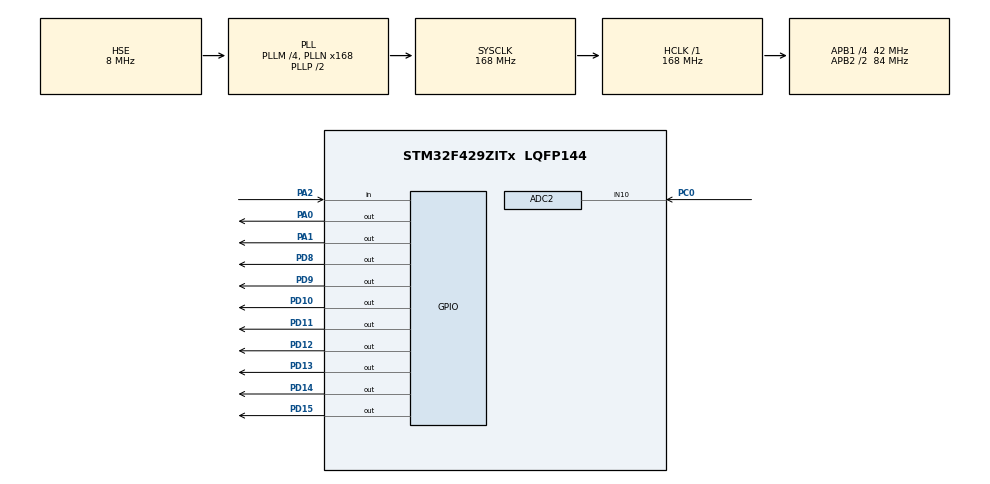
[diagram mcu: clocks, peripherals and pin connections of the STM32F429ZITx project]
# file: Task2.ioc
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ADC2.Channel-0\#ChannelRegularConversion=ADC_CHANNEL_10
ADC2.ContinuousConvMode=ENABLE
ADC2.NbrOfConversionFlag=1
ADC2.Rank-0\#ChannelRegularConversion=1
ADC2.SamplingTime-0\#ChannelRegularConversion=ADC_SAMPLETIME_3CYCLES
Mcu.Family=STM32F4
Mcu.Name=STM32F429ZITx
Mcu.Package=LQFP144
NVIC.ADC_IRQn=true\:0\:0\:false\:false\:true\:true\:true
NVIC.PriorityGroup=NVIC_PRIORITYGROUP_4
NVIC.TIM2_IRQn=true\:0\:0\:false\:false\:true\:true\:true
PA0/WKUP.GPIO_Speed=GPIO_SPEED_FREQ_VERY_HIGH
PA0/WKUP.Signal=GPIO_Output
PA1.GPIO_Speed=GPIO_SPEED_FREQ_VERY_HIGH
PA1.Signal=GPIO_Output
PA2.Signal=GPIO_Input
PC0.Signal=ADCx_IN10
PD10.GPIO_Speed=GPIO_SPEED_FREQ_VERY_HIGH
PD10.Signal=GPIO_Output
PD11.GPIO_Speed=GPIO_SPEED_FREQ_VERY_HIGH
PD11.Signal=GPIO_Output
PD12.GPIO_Speed=GPIO_SPEED_FREQ_VERY_HIGH
PD12.Signal=GPIO_Output
PD13.GPIO_Speed=GPIO_SPEED_FREQ_VERY_HIGH
PD13.Signal=GPIO_Output
PD14.GPIO_Speed=GPIO_SPEED_FREQ_VERY_HIGH
PD14.Signal=GPIO_Output
PD15.GPIO_Speed=GPIO_SPEED_FREQ_VERY_HIGH
PD15.Signal=GPIO_Output
PD8.GPIO_Speed=GPIO_SPEED_FREQ_VERY_HIGH
PD8.Signal=GPIO_Output
PD9.GPIO_Speed=GPIO_SPEED_FREQ_VERY_HIGH
PD9.Signal=GPIO_Output
PH0/OSC_IN.Mode=HSE-External-Oscillator
PH0/OSC_IN.Signal=RCC_OSC_IN
PH1/OSC_OUT.Mode=HSE-External-Oscillator
PH1/OSC_OUT.Signal=RCC_OSC_OUT
ProjectManager.HeapSize=0x200
ProjectManager.StackSize=0x400
ProjectManager.TargetToolchain=EWARM V8.32
RCC.48MHZClocksFreq_Value=84000000
RCC.AHBFreq_Value=168000000
RCC.APB1CLKDivider=RCC_HCLK_DIV4
RCC.APB1Freq_Value=42000000
RCC.APB1TimFreq_Value=84000000
RCC.APB2CLKDivider=RCC_HCLK_DIV2
RCC.APB2Freq_Value=84000000
RCC.APB2TimFreq_Value=168000000
RCC.CortexFreq_Value=168000000
RCC.HCLKFreq_Value=168000000
RCC.HSE_VALUE=8000000
RCC.HSI_VALUE=16000000
RCC.LSE_VALUE=32768
RCC.PLLM=4
RCC.PLLN=168
RCC.PLLSourceVirtual=RCC_PLLSOURCE_HSE
RCC.SYSCLKFreq_VALUE=168000000
RCC.SYSCLKSource=RCC_SYSCLKSOURCE_PLLCLK
RCC.VCOOutputFreq_Value=336000000
SH.ADCx_IN10.0=ADC2_IN10,IN10
TIM2.Period=105
TIM2.Prescaler=20000
VP_TIM2_VS_ClockSourceINT.Mode=Internal
board=custom

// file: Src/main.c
/* USER CODE BEGIN Header */
/**
  ******************************************************************************
  * @file           : main.c
  * @brief          : Main program body
  ******************************************************************************
  * @attention
  *
  * <h2><center>&copy; Copyright (c) 2020 STMicroelectronics.
  * All rights reserved.</center></h2>
  *
  * This software component is licensed by ST under BSD 3-Clause license,
  * the "License"; You may not use this file except in compliance with the
  * License. You may obtain a copy of the License at:
  *                        opensource.org/licenses/BSD-3-Clause
  *
  ******************************************************************************
  */
/* USER CODE END Header */

#include "main.h"

ADC_HandleTypeDef hadc2;

TIM_HandleTypeDef htim2;

/* USER CODE BEGIN PV */
extern char temp_array[5];
/* USER CODE END PV */

void SystemClock_Config(void);
static void MX_GPIO_Init(void);
static void MX_ADC2_Init(void);
static void MX_TIM2_Init(void);

/* USER CODE BEGIN 0 */
void command(char i)
{
 GPIOD-> ODR = i << 8 ; //put data on output Port
 HAL_GPIO_WritePin(GPIOA,GPIO_PIN_0, GPIO_PIN_RESET); // D/I=LOW : send instruction
 HAL_GPIO_WritePin(GPIOA,GPIO_PIN_1, GPIO_PIN_SET); // E-> HIGH
 HAL_Delay(1);
 HAL_GPIO_WritePin(GPIOA,GPIO_PIN_1, GPIO_PIN_RESET); // E-> LOW
}
/**********************************************************/
void write(char i)
{
 GPIOD-> ODR = i << 8 ; //put data on output Port
 HAL_GPIO_WritePin(GPIOA,GPIO_PIN_0, GPIO_PIN_SET); // D/I=high : send data
 HAL_GPIO_WritePin(GPIOA,GPIO_PIN_1, GPIO_PIN_SET); // E-> HIGH
 HAL_Delay(1);
 HAL_GPIO_WritePin(GPIOA,GPIO_PIN_1, GPIO_PIN_RESET); // E-> LOW
}
/**********************************************************/
void init()
{
 HAL_GPIO_WritePin(GPIOA,GPIO_PIN_1, GPIO_PIN_RESET); // E-> LOW
 HAL_Delay(100); //Wait >40 msec after power is applied
 command(0x30); //command 0x30 = Wake up
 HAL_Delay(30); //must wait 5ms, busy flag not available
 command(0x30); //command 0x30 = Wake up #2
 HAL_Delay(10); //must wait 160us, busy flag not available
 command(0x30); //command 0x30 = Wake up #3
 HAL_Delay(10); //must wait 160us, busy flag not available
 command(0x38); //Function set: 8-bit/2-line
 command(0x10); //Set cursor
 command(0x0c); //Display ON; Cursor ON
 command(0x06); //Entry mode set
}
void clear(void) {
 GPIOD->ODR = 0x0000;
 HAL_GPIO_WritePin(GPIOA,GPIO_PIN_0, GPIO_PIN_SET); // D/I=high : send data
 HAL_GPIO_WritePin(GPIOA,GPIO_PIN_1, GPIO_PIN_SET); // E-> HIGH
 HAL_Delay(1);
 HAL_GPIO_WritePin(GPIOA,GPIO_PIN_1, GPIO_PIN_RESET); // E-> LOW
}
/**********************************************************/
void write_string(char *display_string) {
  clear();
  uint8_t flag = 0;
  for(uint8_t i = 0; i < 16; i++){
    if(flag == 0){
      write(display_string[i]);
    }
    else {
      write(0x00);
    }
    if(display_string[i] == '\0'){
      flag = 1;
    }
  }
}
/* USER CODE END 0 */

int main(void)
{
  /* MCU Configuration--------------------------------------------------------*/
  /* Reset of all peripherals, Initializes the Flash interface and the Systick. */
  HAL_Init();
  /* USER CODE BEGIN Init */
  init();
  // say hi
  write_string("LAB*");
  HAL_Delay(200);
  write_string(temp_array);
  /* USER CODE END Init */
  /* Configure the system clock */
  SystemClock_Config();
  /* Initialize all configured peripherals */
  MX_GPIO_Init();
  MX_ADC2_Init();
  MX_TIM2_Init();
  /* USER CODE BEGIN 2 */
  HAL_ADC_Start_IT(&hadc2);
  HAL_TIM_Base_Start(&htim2);
  /* USER CODE END 2 */
  /* Infinite loop */
  /* USER CODE BEGIN WHILE */
  while (1)
  {
    write_string(temp_array);
    HAL_Delay(250);
    /* USER CODE END WHILE */
  }
}

void SystemClock_Config(void)
{
  RCC_OscInitTypeDef RCC_OscInitStruct = {0};
  RCC_ClkInitTypeDef RCC_ClkInitStruct = {0};

  /** Configure the main internal regulator output voltage
  */
  __HAL_RCC_PWR_CLK_ENABLE();
  __HAL_PWR_VOLTAGESCALING_CONFIG(PWR_REGULATOR_VOLTAGE_SCALE1);
  /** Initializes the CPU, AHB and APB busses clocks
  */
  RCC_OscInitStruct.OscillatorType = RCC_OSCILLATORTYPE_HSE;
  RCC_OscInitStruct.HSEState = RCC_HSE_ON;
  RCC_OscInitStruct.PLL.PLLState = RCC_PLL_ON;
  RCC_OscInitStruct.PLL.PLLSource = RCC_PLLSOURCE_HSE;
  RCC_OscInitStruct.PLL.PLLM = 4;
  RCC_OscInitStruct.PLL.PLLN = 168;
  RCC_OscInitStruct.PLL.PLLP = RCC_PLLP_DIV2;
  RCC_OscInitStruct.PLL.PLLQ = 4;
  if (HAL_RCC_OscConfig(&RCC_OscInitStruct) != HAL_OK)
  {
    Error_Handler();
  }
  /** Initializes the CPU, AHB and APB busses clocks
  */
  RCC_ClkInitStruct.ClockType = RCC_CLOCKTYPE_HCLK|RCC_CLOCKTYPE_SYSCLK
                              |RCC_CLOCKTYPE_PCLK1|RCC_CLOCKTYPE_PCLK2;
  RCC_ClkInitStruct.SYSCLKSource = RCC_SYSCLKSOURCE_PLLCLK;
  RCC_ClkInitStruct.AHBCLKDivider = RCC_SYSCLK_DIV1;
  RCC_ClkInitStruct.APB1CLKDivider = RCC_HCLK_DIV4;
  RCC_ClkInitStruct.APB2CLKDivider = RCC_HCLK_DIV2;

  if (HAL_RCC_ClockConfig(&RCC_ClkInitStruct, FLASH_LATENCY_5) != HAL_OK)
  {
    Error_Handler();
  }
}

static void MX_ADC2_Init(void)
{

  ADC_ChannelConfTypeDef sConfig = {0};

  /** Configure the global features of the ADC (Clock, Resolution, Data Alignment and number of conversion)
  */
  hadc2.Instance = ADC2;
  hadc2.Init.ClockPrescaler = ADC_CLOCK_SYNC_PCLK_DIV4;
  hadc2.Init.Resolution = ADC_RESOLUTION_12B;
  hadc2.Init.ScanConvMode = DISABLE;
  hadc2.Init.ContinuousConvMode = ENABLE;
  hadc2.Init.DiscontinuousConvMode = DISABLE;
  hadc2.Init.ExternalTrigConvEdge = ADC_EXTERNALTRIGCONVEDGE_NONE;
  hadc2.Init.ExternalTrigConv = ADC_SOFTWARE_START;
  hadc2.Init.DataAlign = ADC_DATAALIGN_RIGHT;
  hadc2.Init.NbrOfConversion = 1;
  hadc2.Init.DMAContinuousRequests = DISABLE;
  hadc2.Init.EOCSelection = ADC_EOC_SINGLE_CONV;
  if (HAL_ADC_Init(&hadc2) != HAL_OK)
  {
    Error_Handler();
  }
  /** Configure for the selected ADC regular channel its corresponding rank in the sequencer and its sample time.
  */
  sConfig.Channel = ADC_CHANNEL_10;
  sConfig.Rank = 1;
  sConfig.SamplingTime = ADC_SAMPLETIME_3CYCLES;
  if (HAL_ADC_ConfigChannel(&hadc2, &sConfig) != HAL_OK)
  {
    Error_Handler();
  }

}

static void MX_TIM2_Init(void)
{

  TIM_ClockConfigTypeDef sClockSourceConfig = {0};
  TIM_MasterConfigTypeDef sMasterConfig = {0};

  htim2.Instance = TIM2;
  htim2.Init.Prescaler = 20000;
  htim2.Init.CounterMode = TIM_COUNTERMODE_UP;
  htim2.Init.Period = 105;
  htim2.Init.ClockDivision = TIM_CLOCKDIVISION_DIV1;
  htim2.Init.AutoReloadPreload = TIM_AUTORELOAD_PRELOAD_DISABLE;
  if (HAL_TIM_Base_Init(&htim2) != HAL_OK)
  {
    Error_Handler();
  }
  sClockSourceConfig.ClockSource = TIM_CLOCKSOURCE_INTERNAL;
  if (HAL_TIM_ConfigClockSource(&htim2, &sClockSourceConfig) != HAL_OK)
  {
    Error_Handler();
  }
  sMasterConfig.MasterOutputTrigger = TIM_TRGO_RESET;
  sMasterConfig.MasterSlaveMode = TIM_MASTERSLAVEMODE_DISABLE;
  if (HAL_TIMEx_MasterConfigSynchronization(&htim2, &sMasterConfig) != HAL_OK)
  {
    Error_Handler();
  }

}

static void MX_GPIO_Init(void)
{
  GPIO_InitTypeDef GPIO_InitStruct = {0};

  /* GPIO Ports Clock Enable */
  __HAL_RCC_GPIOH_CLK_ENABLE();
  __HAL_RCC_GPIOC_CLK_ENABLE();
  __HAL_RCC_GPIOA_CLK_ENABLE();
  __HAL_RCC_GPIOD_CLK_ENABLE();

  /*Configure GPIO pin Output Level */
  HAL_GPIO_WritePin(GPIOA, GPIO_PIN_0|GPIO_PIN_1, GPIO_PIN_RESET);

  /*Configure GPIO pin Output Level */
  HAL_GPIO_WritePin(GPIOD, GPIO_PIN_8|GPIO_PIN_9|GPIO_PIN_10|GPIO_PIN_11
                          |GPIO_PIN_12|GPIO_PIN_13|GPIO_PIN_14|GPIO_PIN_15, GPIO_PIN_RESET);

  /*Configure GPIO pins : PA0 PA1 */
  GPIO_InitStruct.Pin = GPIO_PIN_0|GPIO_PIN_1;
  GPIO_InitStruct.Mode = GPIO_MODE_OUTPUT_PP;
  GPIO_InitStruct.Pull = GPIO_NOPULL;
  GPIO_InitStruct.Speed = GPIO_SPEED_FREQ_VERY_HIGH;
  HAL_GPIO_Init(GPIOA, &GPIO_InitStruct);

  /*Configure GPIO pin : PA2 */
  GPIO_InitStruct.Pin = GPIO_PIN_2;
  GPIO_InitStruct.Mode = GPIO_MODE_INPUT;
  GPIO_InitStruct.Pull = GPIO_NOPULL;
  HAL_GPIO_Init(GPIOA, &GPIO_InitStruct);

  /*Configure GPIO pins : PD8 PD9 PD10 PD11
                           PD12 PD13 PD14 PD15 */
  GPIO_InitStruct.Pin = GPIO_PIN_8|GPIO_PIN_9|GPIO_PIN_10|GPIO_PIN_11
                          |GPIO_PIN_12|GPIO_PIN_13|GPIO_PIN_14|GPIO_PIN_15;
  GPIO_InitStruct.Mode = GPIO_MODE_OUTPUT_PP;
  GPIO_InitStruct.Pull = GPIO_NOPULL;
  GPIO_InitStruct.Speed = GPIO_SPEED_FREQ_VERY_HIGH;
  HAL_GPIO_Init(GPIOD, &GPIO_InitStruct);

}

void Error_Handler(void)
{
}

/************************ (C) COPYRIGHT STMicroelectronics *****END OF FILE****/
